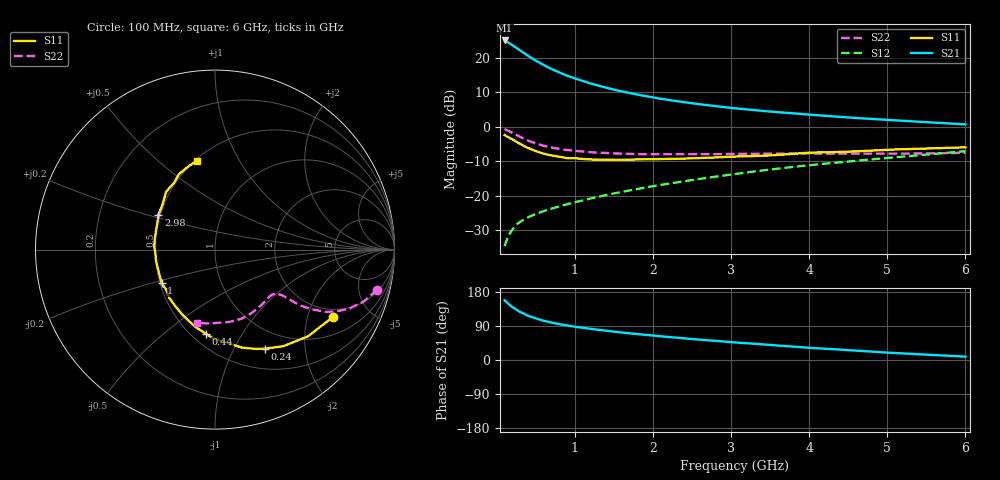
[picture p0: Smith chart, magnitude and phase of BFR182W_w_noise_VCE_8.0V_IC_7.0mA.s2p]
! Infineon Technologies  Discrete & RF Semiconductors
! BFR182W
! VCE =  8.0 V,  IC =  7.0 mA
! Common Emitter S-Parameters:  Nov 2015
# GHz  S  MA  R  50
!  f  S11  S21  S12  S22
! GHz  MAG  ANG  MAG  ANG  MAG  ANG  MAG  ANG
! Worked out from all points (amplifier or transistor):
!   192 points, 100 MHz to 6 GHz, reference 50 ohm
!   highest |S21| = 25.0 dB at 100 MHz (marker M1)
!   |S21| within 3 dB of that: start of sweep to 304.3 MHz
!   unconditionally stable (mu >= 1): 1.25 GHz to 2.921 GHz
!   at 440 MHz: K = 0.59, MSG = 22.9 dB, |S12| = -25.8 dB
!   at 1.7 GHz: K = 1.05, MAG = 12.7 dB, |S12| = -18.4 dB
!   at 6 GHz: K = 0.78, MSG = 3.9 dB, |S12| = -7.1 dB
!   lowest NFmin = 1.30 dB at 450 MHz
!   S11 on the Smith chart (normalised r, x): 100 MHz: 1.67, -2.93; 240 MHz: 0.75, -1.34; 440 MHz: 0.59, -0.71; 1 GHz: 0.51, -0.22; 2.98 GHz: 0.49, +0.22; 6 GHz: 0.51, +0.68
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0.1  0.7585 -29.5  17.81 157.6  0.0187 75.7  0.9304 -13.9
0.15  0.7084 -43.0  16.58 147.9  0.0266 70.1  0.8771 -19.3
0.2  0.659 -54.8  15.27 139.5  0.0326 65.8  0.8183 -23.6
0.24  0.6176 -63.3  14.2 133.9  0.0371 62.7  0.7722 -26.2
0.3  0.5668 -74.6  12.7 126.4  0.0422 60.0  0.712 -29.2
0.4  0.4938 -91.4  10.64 116.5  0.049 57.7  0.6303 -31.8
0.44  0.4714 -96.2  9.991 113.9  0.0513 57.3  0.6072 -32.3
0.5  0.4447 -104.2  9.054 109.4  0.0548 56.8  0.5727 -33.1
0.56  0.4213 -110.8  8.31 106.1  0.0581 56.7  0.5475 -33.4
0.6  0.4091 -115.5  7.832 103.6  0.0603 56.6  0.5307 -33.6
0.7  0.3854 -124.9  6.857 98.6  0.0653 57.6  0.5012 -33.7
0.8  0.3705 -133.6  6.121 94.5  0.0704 58.4  0.4785 -34.0
1  0.3514 -147.7  5.011 87.8  0.081 60.1  0.4489 -34.4
1.1  0.3423 -153.1  4.616 85.2  0.0864 60.8  0.4387 -34.7
1.2  0.3365 -158.8  4.233 82.1  0.0918 61.5  0.4286 -35.1
1.5  0.3337 -171.7  3.451 74.7  0.1086 63.4  0.412 -37.0
2.08  0.3409 169.1  2.571 63.0  0.1431 65.3  0.4005 -42.0
2.98  0.3687 148.7  1.889 47.5  0.2021 65.1  0.4048 -53.1
3.1  0.3721 146.5  1.832 45.7  0.2109 64.8  0.4053 -54.9
4.1  0.4245 128.3  1.473 31.0  0.2853 61.1  0.4112 -71.0
5.1  0.4698 113.8  1.243 18.4  0.3622 56.2  0.4086 -88.8
6  0.505 101.6  1.084 8.9  0.4441 50.9  0.4209 -103.4
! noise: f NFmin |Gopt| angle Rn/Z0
0.45  1.3  0.26  40  0.29
0.9  1.45  0.25  81  0.23
1.8  2  0.21  157  0.2
